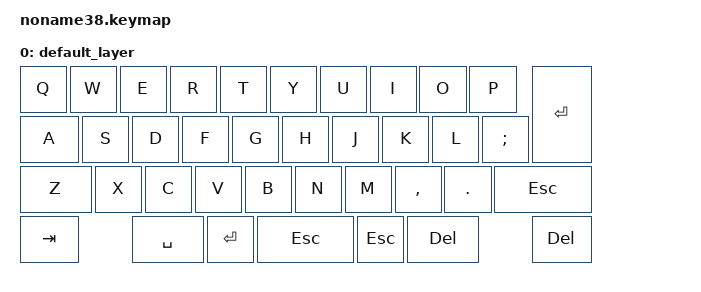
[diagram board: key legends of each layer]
/*
 * Copyright (c) 2020 The ZMK Contributors
 *
 * SPDX-License-Identifier: MIT
 */

#include <behaviors.dtsi>
#include <dt-bindings/zmk/keys.h>
#include <dt-bindings/zmk/bt.h>
#include <dt-bindings/zmk/outputs.h>



#define DEF 0
#define LWR 1
#define RSE 2
#define ADJ 3

&lt { quick-tap-ms = <200>; };
&mt { quick-tap-ms = <200>; };




/ {
        keymap {
                compatible = "zmk,keymap";

                default_layer {
// -----------------------------------------------------------------------------------------
//        |   ~  |  Q  |  W  |  E  |  R  |  T  |   |  Y  |  U   |  I  |  O  |  P  |  F11   | 
//        | CTRL |  A  |  S  |  D  |  F  |  G  |   |  H  |  J   |  K  |  L  |  ;  |CTRL/'|
//        | LALT |  Z  |  X  |  C  |  V  |  B  |   |  N  |  M   |  ,  |  .  |  /  | RALT |
//                           | RSE | SPC | LWR |   | LWR | BKSP | RSE |
                        bindings = <
            &kp Q &kp W &kp E &kp R &kp T &kp Y  &kp U  &kp I     &kp O   &kp P    
            &kp A &kp S &kp D &kp F &kp G &kp H &kp J  &kp K     &kp L   &kp SEMI &kp RET 
            &kp Z &kp X &kp C &kp V &kp B &kp N   &kp M  &kp COMMA &kp DOT &kp ESC
            &kp TAB &kp SPACE &kp RET &kp ESC &kp ESC &kp DEL &kp DEL
                        >;
                };
        };
};

